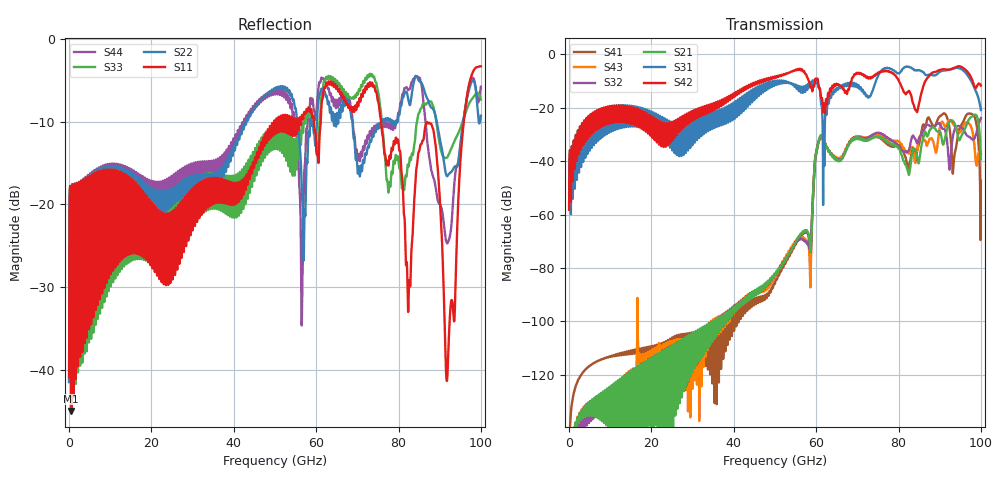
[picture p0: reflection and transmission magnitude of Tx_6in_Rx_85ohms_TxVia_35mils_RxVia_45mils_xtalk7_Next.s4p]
! Info: Touchstone file created by Circ.  Input file=Tx_6in_Rx_85ohms_TxVia_35mils_RxVia_45mils.circ
# Hz S RI R 50
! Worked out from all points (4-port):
!   10000 points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, 10 MHz to 100 GHz, reference 50 ohm
!   strongest paths, dB at 10 MHz, 25.01 GHz, 50.01 GHz, 75.01 GHz, 100 GHz:
!     S42: -58.1, -28.3, -8.2, -6.8, -11.7
!     S31: -58.2, -32.8, -9.8, -8.1, -20.8
!     S21: -175.2, -108.9, -82.4, -30.8, -39.2
!     S32: -179.8, -112.5, -82.5, -29.4, -23.8
!     S43: -174.8, -107.5, -83.5, -29.7, -37.1
!     S41: -162.0, -106.5, -85.7, -30.9, -47.3
!   lowest |S11| = -44.9 dB at 530 MHz (marker M1), VSWR 1.01, Z = 49.5 + j0.32 ohm
!   |S11| at or under -10 dB: start of sweep to 49.79 GHz; 59.43 GHz to 61.11 GHz (1.676 GHz wide, 2.78 % of centre); 75.78 GHz to 95.85 GHz (20.07 GHz wide, 23.4 % of centre) (the widest 3 of 16)
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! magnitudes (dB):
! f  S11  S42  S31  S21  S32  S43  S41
! 10 MHz  -40.9  -58.1  -58.2  -175.2  -179.8  -174.8  -162.0
! 530 MHz  -44.9  -39.4  -39.5  -146.2  -150.7  -146.0  -132.6
! 51.58 GHz  -10.5  -7.6  -9.8  -79.1  -79.1  -79.0  -80.8
! 58.4 GHz  -8.6  -10.7  -12.1  -69.4  -72.9  -76.2  -71.2
! 61.09 GHz  -10.2  -14.9  -17.2  -30.4  -30.5  -30.7  -30.7
! 91.76 GHz  -41.3  -5.7  -5.9  -28.0  -32.1  -26.2  -23.5
! 100 GHz  -3.3  -11.7  -20.8  -39.2  -23.8  -37.1  -47.3
